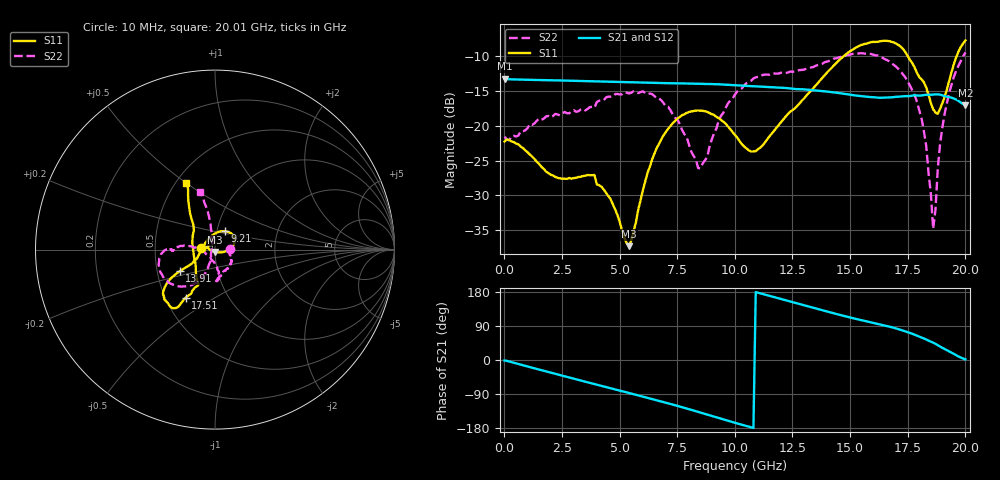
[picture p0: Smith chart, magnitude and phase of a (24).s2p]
! Hittite Microwave Corporation
! 2 Elizabeth Drive
! Chelmsford, MA 01824
! http://www.hittite.com
! Tel: 978-250-3343
! Fax: 978-250-3373
! Device:  HMC424LP3
! Description: 0.5 dB GaAs MMIC 6-Bit Digital Attenuator
! Frequency:  DC -  13.00 GHz
! Package:  LP3  - 3x3 mm Quad Flatpack No-Lead (QFN) Plastic Package: 16 pin
! Ports:  2 RF, 7 DC
!  Pad  1  = Ground
!  Pad  2  = RF IN  = Port 1
!  Pad  3  = Ground
!  Pad  4  = V6
!  Pad  5  = V5
!  Pad  6  = V4
!  Pad  7  = V3
!  Pad  8  = V2
!  Pad  9  = V1
!  Pad 10  = Ground
!  Pad 11  = RF OUT  = Port 2
!  Pad 12  = Ground
!  Pad 15  = VEE
! Control:  -5 Volt control voltage
! State:  22
! Attenuation:  11.0 dB
! Voltages:  Vdd = -5.00 Volts  Idd =  -2.558 mA
!  V1  = 0.00 Volts  I1  =  29.0 uA
!  V2  = -5.00 Volts  I2  =  -1.0 uA
!  V3  = -5.00 Volts  I3  =  -1.0 uA
!  V4  = 0.00 Volts  I4  =  30.0 uA
!  V5  = -5.00 Volts  I5  =  -1.0 uA
!  V6  = 0.00 Volts  I6  =  30.0 uA
! Data:  The device was measured on evaluation board 105354-1.
!  Data was collected using a calibrated network analyzer.
!  The evaluation circuit board was modeled and simulated.  This was use
!  to removed the evaluation board circuit from the measured data.
!  The reference plane is the edge of the package pin.
! Misc:  Lot xxxx, Unit 1
!  Application 20120001, Data collected in Application 20090083
! Date Measured:  2009-09-15
! Date:  2012-05-14  MJV
! Note:
!  Hittite supplies this data as a sample of measured data at the package pin
!  for this product.  Your particular data for this product may vary.
!  Data was taken at 25 degrees C.
!  Hittite reserves the right to change this data at anytime.
# GHz S MA R 50
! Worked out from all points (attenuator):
!   201 points, 10 MHz to 20.01 GHz, reference 50 ohm
!   highest |S21| = -13.27 dB at 10 MHz (marker M1); lowest = -17.1 dB at 20.01 GHz (marker M2)
!   lowest |S11| = -37.3 dB at 5.41 GHz (marker M3), VSWR 1.03, Z = 49.8 - j1.35 ohm
!   |S11| at or under -10 dB: start of sweep to 14.76 GHz; 17.5 GHz to 19.64 GHz (2.142 GHz wide, 11.5 % of centre)
!   |S22| runs from -34.8 to -9.5 dB; largest |S21 - S12| = 0.0012
!   S11 on the Smith chart (normalised r, x): 10 MHz: 0.86, +0.01; 9.21 GHz: 1.09, +0.23; 13.91 GHz: 0.66, -0.17; 17.51 GHz: 0.63, -0.38; 20.01 GHz: 0.56, +0.50
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0.01  0.07693 174.0  0.217 -1.3  0.2158 -1.2  0.0832 3.6
2.31  0.04223 155.4  0.2104 -38.1  0.21 -38.1  0.1201 -43.3
3.41  0.04353 150.7  0.2084 -55.7  0.2082 -55.7  0.1317 -63.5
4.61  0.0297 -178.0  0.2057 -74.6  0.2054 -74.6  0.1609 -82.6
5.41  0.01372 -99.4  0.2039 -87.1  0.2036 -87.1  0.1697 -86.6
6.71  0.07405 -2.0  0.2017 -107.7  0.2013 -107.7  0.1566 -82.5
7.51  0.1121 17.6  0.2005 -121.1  0.2002 -121.1  0.1109 -83.7
8.41  0.1282 39.1  0.1989 -136.9  0.1987 -136.9  0.04966 -121.4
9.21  0.1151 62.4  0.1975 -151.5  0.1972 -151.5  0.09571 176.0
10.01  0.08563 93.9  0.1944 -165.7  0.1942 -165.7  0.1667 172.0
10.91  0.06557 155.4  0.1908 179.1  0.1905 179.1  0.2212 177.9
13.41  0.1852 -148.6  0.1791 137.9  0.1787 137.9  0.2621 179.3
13.91  0.2295 -148.5  0.1757 129.6  0.1754 129.6  0.2843 -178.8
15.31  0.3653 -141.6  0.1637 107.8  0.1634 107.8  0.3265 -161.7
16.71  0.4016 -125.6  0.1588 88.1  0.1586 88.1  0.2875 -134.5
17.51  0.3136 -121.4  0.1624 73.2  0.1621 73.3  0.2063 -118.9
18.21  0.2037 -118.6  0.1652 57.0  0.1651 57.1  0.09078 -112.0
18.51  0.1451 -137.5  0.1662 48.5  0.166 48.5  0.03273 -133.7
18.61  0.1307 -147.5  0.1666 45.7  0.1663 45.7  0.01828 -174.0
18.91  0.1313 164.2  0.1665 35.4  0.1661 35.5  0.07363 105.3
19.11  0.1598 137.4  0.1621 28.9  0.1618 28.9  0.1218 100.9
20.01  0.4062 113.3  0.1397 1.6  0.1394 1.6  0.3335 104.9
